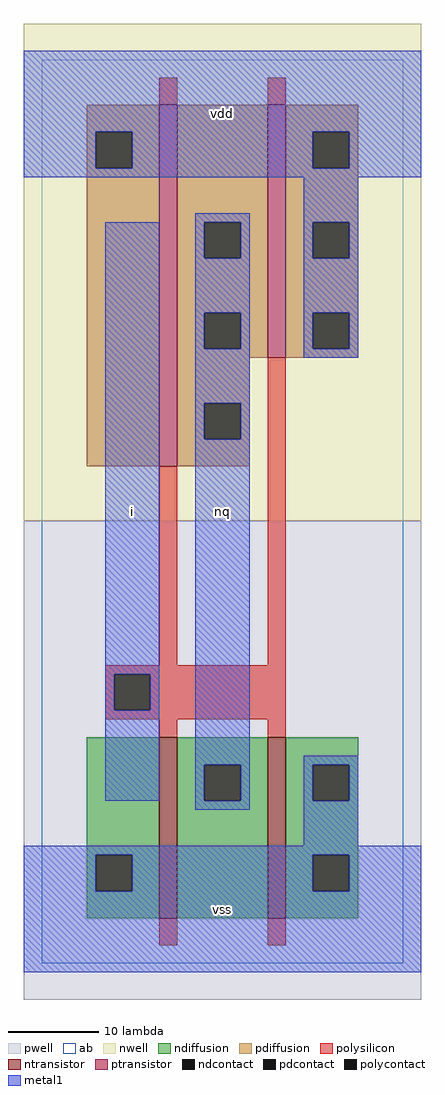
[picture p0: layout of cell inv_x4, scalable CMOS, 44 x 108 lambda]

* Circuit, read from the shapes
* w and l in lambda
.subckt inv_x4 i nq vdd vss
M1 nq i vss VSUBS nfet w=20 l=2 m=2
M2 nq i vdd n1 pfet w=40 l=2
M3 vdd i nq n1 pfet w=28 l=2
.ends

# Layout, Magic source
magic
tech scmos
<< ab >>
rect 0 0 40 100
<< pwell >>
rect -2 -4 42 49
<< nwell >>
rect -2 49 42 104
<< polysilicon >>
rect 13 95 15 98
rect 25 95 27 98
rect 13 33 15 55
rect 25 33 27 67
rect 7 32 27 33
rect 7 28 8 32
rect 12 28 27 32
rect 7 27 27 28
rect 13 25 15 27
rect 25 25 27 27
rect 13 2 15 5
rect 25 2 27 5
<< ndiffusion >>
rect 5 12 13 25
rect 5 8 6 12
rect 10 8 13 12
rect 5 5 13 8
rect 15 22 25 25
rect 15 18 18 22
rect 22 18 25 22
rect 15 5 25 18
rect 27 22 35 25
rect 27 18 30 22
rect 34 18 35 22
rect 27 12 35 18
rect 27 8 30 12
rect 34 8 35 12
rect 27 5 35 8
<< pdiffusion >>
rect 5 92 13 95
rect 5 88 6 92
rect 10 88 13 92
rect 5 55 13 88
rect 15 82 25 95
rect 15 78 18 82
rect 22 78 25 82
rect 15 72 25 78
rect 15 68 18 72
rect 22 68 25 72
rect 15 67 25 68
rect 27 92 35 95
rect 27 88 30 92
rect 34 88 35 92
rect 27 82 35 88
rect 27 78 30 82
rect 34 78 35 82
rect 27 72 35 78
rect 27 68 30 72
rect 34 68 35 72
rect 27 67 35 68
rect 15 62 23 67
rect 15 58 18 62
rect 22 58 23 62
rect 15 55 23 58
<< metal1 >>
rect -2 92 42 101
rect -2 88 6 92
rect 10 88 30 92
rect 34 88 42 92
rect -2 87 42 88
rect 17 82 23 83
rect 7 32 13 82
rect 7 28 8 32
rect 12 28 13 32
rect 7 18 13 28
rect 17 78 18 82
rect 22 78 23 82
rect 17 72 23 78
rect 17 68 18 72
rect 22 68 23 72
rect 17 62 23 68
rect 29 82 35 87
rect 29 78 30 82
rect 34 78 35 82
rect 29 72 35 78
rect 29 68 30 72
rect 34 68 35 72
rect 29 67 35 68
rect 17 58 18 62
rect 22 58 23 62
rect 17 22 23 58
rect 17 18 18 22
rect 22 18 23 22
rect 17 17 23 18
rect 29 22 35 23
rect 29 18 30 22
rect 34 18 35 22
rect 29 13 35 18
rect -2 12 42 13
rect -2 8 6 12
rect 10 8 30 12
rect 34 8 42 12
rect -2 -1 42 8
<< ntransistor >>
rect 13 5 15 25
rect 25 5 27 25
<< ptransistor >>
rect 13 55 15 95
rect 25 67 27 95
<< polycontact >>
rect 8 28 12 32
<< ndcontact >>
rect 6 8 10 12
rect 18 18 22 22
rect 30 18 34 22
rect 30 8 34 12
<< pdcontact >>
rect 6 88 10 92
rect 18 78 22 82
rect 18 68 22 72
rect 30 88 34 92
rect 30 78 34 82
rect 30 68 34 72
rect 18 58 22 62
<< labels >>
rlabel metal1 10 50 10 50 6 i
rlabel metal1 10 50 10 50 6 i
rlabel metal1 20 6 20 6 6 vss
rlabel metal1 20 6 20 6 6 vss
rlabel metal1 20 50 20 50 6 nq
rlabel metal1 20 50 20 50 6 nq
rlabel metal1 20 94 20 94 6 vdd
rlabel metal1 20 94 20 94 6 vdd
<< end >>
